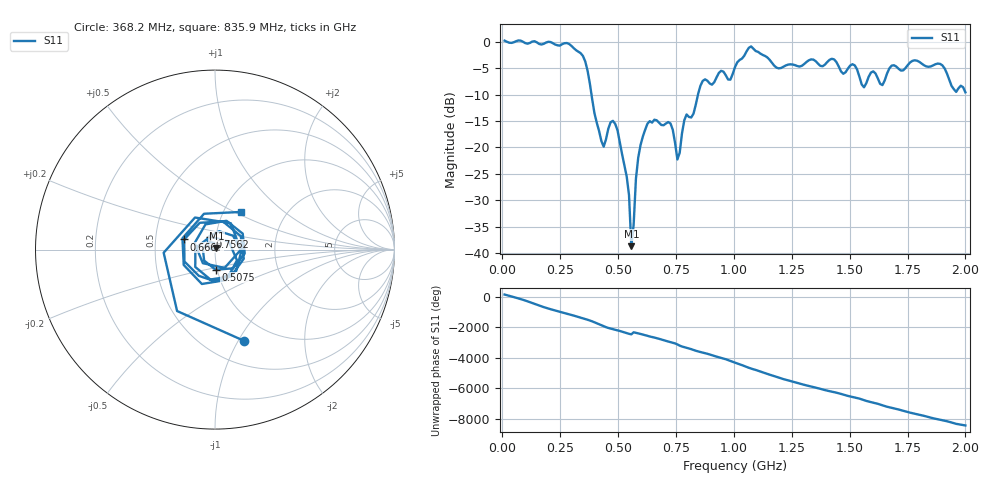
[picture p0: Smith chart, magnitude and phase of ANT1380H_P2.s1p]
!Created with skrf (http://scikit-rf.org).
# Hz S RI R 50.0
!freq ReS11 ImS11
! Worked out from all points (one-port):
!   201 points, 10 MHz to 2 GHz, reference 50 ohm
!   lowest |S11| = -38.7 dB at 557.2 MHz (marker M1), VSWR 1.02, Z = 50.7 + j0.911 ohm
!   |S11| at or under -10 dB: 385.2 MHz to 845.2 MHz (459.9 MHz wide, 74.8 % of centre)
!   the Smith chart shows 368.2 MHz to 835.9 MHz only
!   S11 on the Smith chart (normalised r, x): 368.2 MHz: 0.74, -1.06; 507.5 MHz: 0.98, -0.22; 666.7 MHz: 0.70, +0.08; 756.2 MHz: 0.94, +0.14; 835.9 MHz: 1.21, +0.54
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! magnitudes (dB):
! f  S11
! 10 MHz  0.2
! 258.8 MHz  -0.5
! 368.2 MHz  -5.5
! 437.9 MHz  -19.9
! 477.6 MHz  -15.0
! 507.5 MHz  -19.0
! 547.3 MHz  -29.0
! 557.2 MHz  -38.7
! 567.2 MHz  -34.7
! 577.1 MHz  -25.9
! 597 MHz  -19.6
! 666.7 MHz  -14.9
! 726.4 MHz  -15.5
! 756.2 MHz  -22.3
! 786.1 MHz  -14.9
! 835.9 MHz  -11.9
! 865.7 MHz  -7.4
! 1.005 GHz  -4.8
! 1.075 GHz  -0.9
! 1.254 GHz  -4.3
! 1.502 GHz  -4.5
! 1.562 GHz  -8.6
! 1.602 GHz  -5.6
! 1.642 GHz  -8.2
! 1.682 GHz  -4.5
! 1.751 GHz  -4.4
! 1.891 GHz  -4.2
! 2 GHz  -9.6
